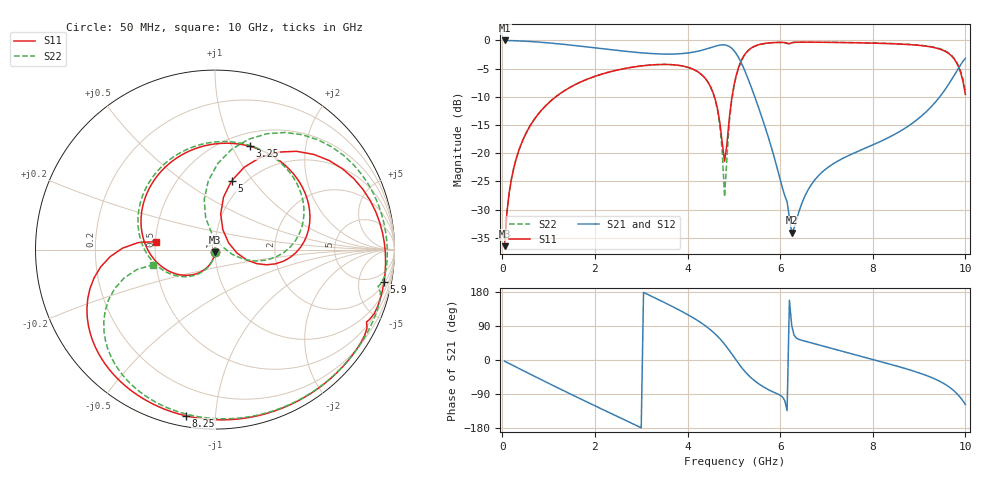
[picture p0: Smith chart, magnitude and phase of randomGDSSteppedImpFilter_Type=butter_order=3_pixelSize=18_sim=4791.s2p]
! freq	dB(S11)	phase(S11)	dB(S12)	phase(S12)
!  dB(S21)	phase(S21)	dB(S22)	phase(S22)
!S-par simulation data
#  GHz  S  DB  R 50
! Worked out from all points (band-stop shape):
!   200 points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, 50 MHz to 10 GHz, reference 50 ohm
!   highest |S21| = 0.00 dB at 50 MHz (marker M1); lowest = -34.1 dB at 6.25 GHz (marker M2)
!   |S21| within 3 dB of the highest: start of sweep to 5.1 GHz
!   lowest |S11| = -36.5 dB at 50 MHz (marker M3), VSWR 1.03, Z = 49.9 - j1.49 ohm
!   |S11| at or under -10 dB: start of sweep to 1.156 GHz; 4.58 GHz to 4.961 GHz (381.2 MHz wide, 7.99 % of centre)
!   |S22| runs from -36.5 to -0.3 dB; largest |S21 - S12| = 0
!   S11 on the Smith chart (normalised r, x): 50 MHz: 1.00, -0.03; 3.25 GHz: 0.64, +1.17; 5 GHz: 0.87, +0.79; 5.9 GHz: 2, -10; 8.25 GHz: 0.05, -0.84; 10 GHz: 0.50, +0.05
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0.05  -36.50 -93.0  -0.00 -3.2  -0.00 -3.2  -36.50 -92.8
0.2  -24.49 -103.0  -0.04 -12.5  -0.04 -12.5  -24.49 -102.3
0.5  -16.68 -122.3  -0.14 -31.0  -0.14 -31.0  -16.68 -120.6
1.15  -10.04 -163.2  -0.55 -70.6  -0.55 -70.6  -10.03 -159.2
1.75  -7.16 160.1  -1.08 -106.2  -1.08 -106.2  -7.16 166.1
2.5  -5.23 115.4  -1.79 -149.9  -1.79 -149.9  -5.22 123.5
3.25  -4.33 71.4  -2.34 166.5  -2.34 166.5  -4.33 81.0
3.4  -4.27 62.5  -2.40 157.7  -2.40 157.7  -4.27 72.3
4.05  -4.88 22.5  -2.18 116.5  -2.18 116.5  -4.88 32.2
4.5  -8.27 -9.7  -1.28 79.3  -1.28 79.3  -8.33 -2.5
4.7  -14.67 -18.0  -0.83 55.9  -0.83 55.9  -15.23 -18.5
4.8  -21.45 26.7  -0.80 41.5  -0.80 41.5  -27.72 30.5
5  -8.10 76.5  -1.77 8.1  -1.77 8.1  -8.31 95.6
5.05  -6.25 70.5  -2.33 -0.6  -2.33 -0.6  -6.39 88.2
5.45  -1.01 22.2  -9.96 -54.9  -9.96 -54.9  -1.03 36.3
5.9  -0.37 -10.7  -21.56 -87.1  -21.56 -87.1  -0.37 2.3
6.25  -0.41 -27.3  -34.10 91.2  -34.10 91.2  -0.43 -14.5
6.7  -0.31 -47.1  -25.26 44.6  -25.26 44.6  -0.30 -34.7
8.25  -0.54 -99.8  -17.60 -6.9  -17.60 -6.9  -0.50 -87.5
8.35  -0.56 -103.0  -17.19 -10.2  -17.19 -10.2  -0.53 -90.7
9.55  -1.87 -152.0  -8.86 -63.2  -8.86 -63.2  -1.79 -137.3
10  -9.58 172.3  -3.17 -117.2  -3.17 -117.2  -8.93 -166.4
